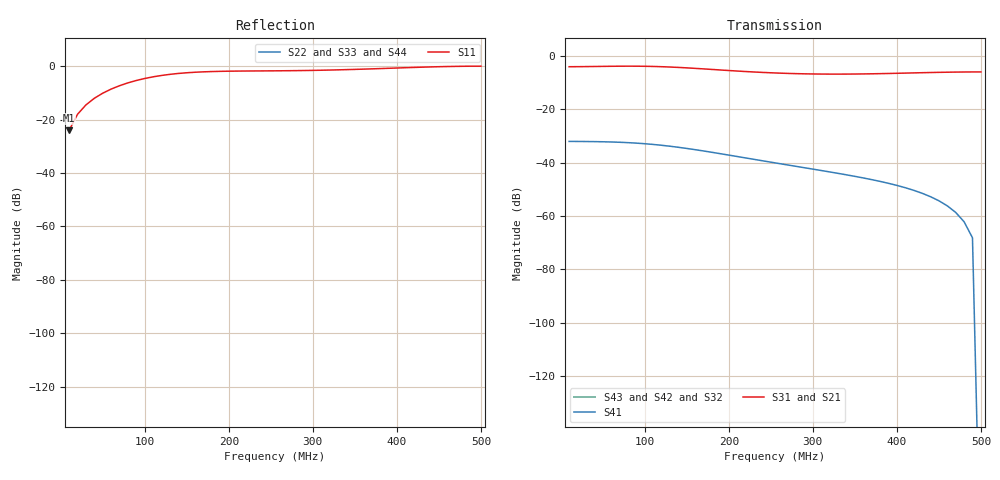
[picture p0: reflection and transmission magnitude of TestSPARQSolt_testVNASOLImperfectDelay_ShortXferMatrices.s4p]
# MHz MA S R 50.0
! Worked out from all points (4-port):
!   50 points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, 10 MHz to 500 MHz, reference 50 ohm
!   strongest paths, dB at 10 MHz, 130 MHz, 260 MHz, 380 MHz, 500 MHz:
!     S31: -4.1, -4.2, -6.5, -6.7, -6.0
!     S21: -4.1, -4.2, -6.5, -6.7, -6.0
!     S41: -32.0, -33.8, -40.3, -47.0, -
!     S43: -, -, -, -, -
!     S42: -, -, -, -, -
!     S32: -, -, -, -, -
!   lowest |S11| = -24.0 dB at 10 MHz (marker M1), VSWR 1.13, Z = 50.3 + j6.31 ohm
!   |S11| at or under -10 dB: start of sweep to 50.77 MHz
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10  0.06282 83.2  0 0.0  0 0.0  0 0.0
    0.6255 -3.9  0 0.0  0 0.0  0 0.0
    0.6255 170.4  0 0.0  0 0.0  0 0.0
    0.02499 -6.8  0 0.0  0 0.0  0 0.0
90  0.5397 27.0  0 0.0  0 0.0  0 0.0
    0.6402 -38.1  0 0.0  0 0.0  0 0.0
    0.6402 92.1  0 0.0  0 0.0  0 0.0
    0.02322 -63.0  0 0.0  0 0.0  0 0.0
180  0.7931 -33.6  0 0.0  0 0.0  0 0.0
     0.5566 -78.2  0 0.0  0 0.0  0 0.0
     0.5566 10.9  0 0.0  0 0.0  0 0.0
     0.01562 -123.6  0 0.0  0 0.0  0 0.0
310  0.8395 -94.4  0 0.0  0 0.0  0 0.0
     0.456 -117.4  0 0.0  0 0.0  0 0.0
     0.456 -71.4  0 0.0  0 0.0  0 0.0
     0.007131 175.6  0 0.0  0 0.0  0 0.0
440  0.9677 -150.5  0 0.0  0 0.0  0 0.0
     0.4873 -157.3  0 0.0  0 0.0  0 0.0
     0.4873 -143.7  0 0.0  0 0.0  0 0.0
     0.002308 119.5  0 0.0  0 0.0  0 0.0
480  0.9961 -170.0  0 0.0  0 0.0  0 0.0
     0.4984 -172.2  0 0.0  0 0.0  0 0.0
     0.4984 -167.7  0 0.0  0 0.0  0 0.0
     0.000783 100.0  0 0.0  0 0.0  0 0.0
500  1 180.0  0 0.0  0 0.0  0 0.0
     0.5 180.0  0 0.0  0 0.0  0 0.0
     0.5 180.0  0 0.0  0 0.0  0 0.0
     0 -127.8  0 0.0  0 0.0  0 0.0
